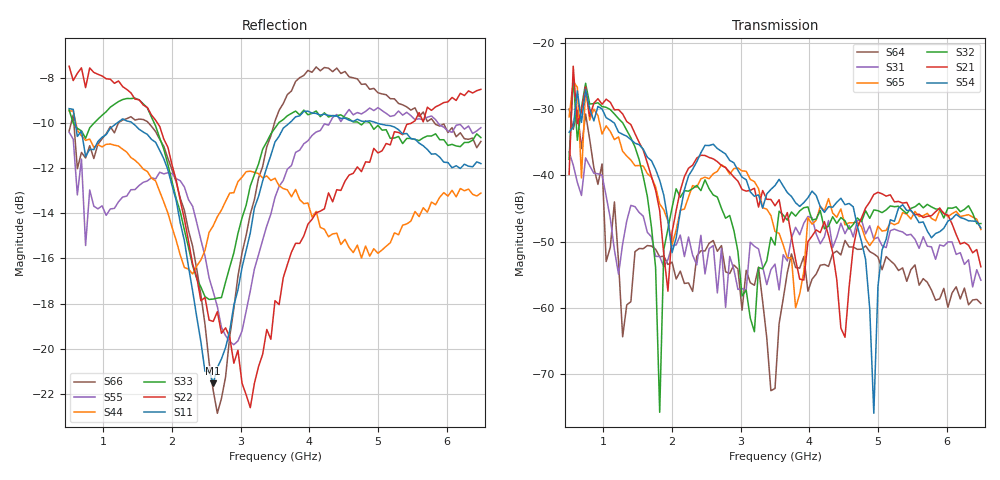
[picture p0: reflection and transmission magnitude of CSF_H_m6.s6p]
!Keysight Technologies,M9804A,MY58100912,A.14.10.03
!Date: Thursday, April 27, 2023 10:28:33
!Correction: S11(C  6-Port  )
!S12(C  6-Port  )
!S13(C  6-Port  )
!S14(C  6-Port  )
!S15(C  6-Port  )
!S16(C  6-Port  )
!S21(C  6-Port  )
!S22(C  6-Port  )
!S23(C  6-Port  )
!S24(C  6-Port  )
!S25(C  6-Port  )
!S26(C  6-Port  )
!S31(C  6-Port  )
!S32(C  6-Port  )
!S33(C  6-Port  )
!S34(C  6-Port  )
!S35(C  6-Port  )
!S36(C  6-Port  )
!S41(C  6-Port  )
!S42(C  6-Port  )
!S43(C  6-Port  )
!S44(C  6-Port  )
!S45(C  6-Port  )
!S46(C  6-Port  )
!S51(C  6-Port  )
!S52(C  6-Port  )
!S53(C  6-Port  )
!S54(C  6-Port  )
!S55(C  6-Port  )
!S56(C  6-Port  )
!S61(C  6-Port  )
!S62(C  6-Port  )
!S63(C  6-Port  )
!S64(C  6-Port  )
!S65(C  6-Port  )
!S66(C  6-Port  )
!S6P File: Measurement: :
# Hz S  RI  R 50
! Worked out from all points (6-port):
!   101 points, 500 MHz to 6.5 GHz, reference 50 ohm
!   strongest paths, dB at 500 MHz, 2 GHz, 3.5 GHz, 5 GHz, 6.5 GHz:
!     S54: -33.4, -51.7, -41.5, -56.8, -47.9
!     S21: -39.8, -48.6, -44.6, -42.5, -53.8
!     S32: -37.5, -44.9, -50.5, -45.3, -47.3
!     S65: -31.1, -50.5, -48.4, -47.7, -48.2
!     S31: -36.4, -50.6, -53.4, -49.4, -55.8
!     S64: -30.0, -53.1, -72.2, -52.3, -59.4
!   lowest |S11| = -21.5 dB at 2.6 GHz (marker M1), VSWR 1.18, Z = 42.5 + j2.15 ohm
!   |S11| at or under -10 dB: 589.9 MHz to 1.201 GHz (611.3 MHz wide, 68.3 % of centre); 1.418 GHz to 3.713 GHz (2.294 GHz wide, 89.4 % of centre); 4.976 GHz to end of sweep
